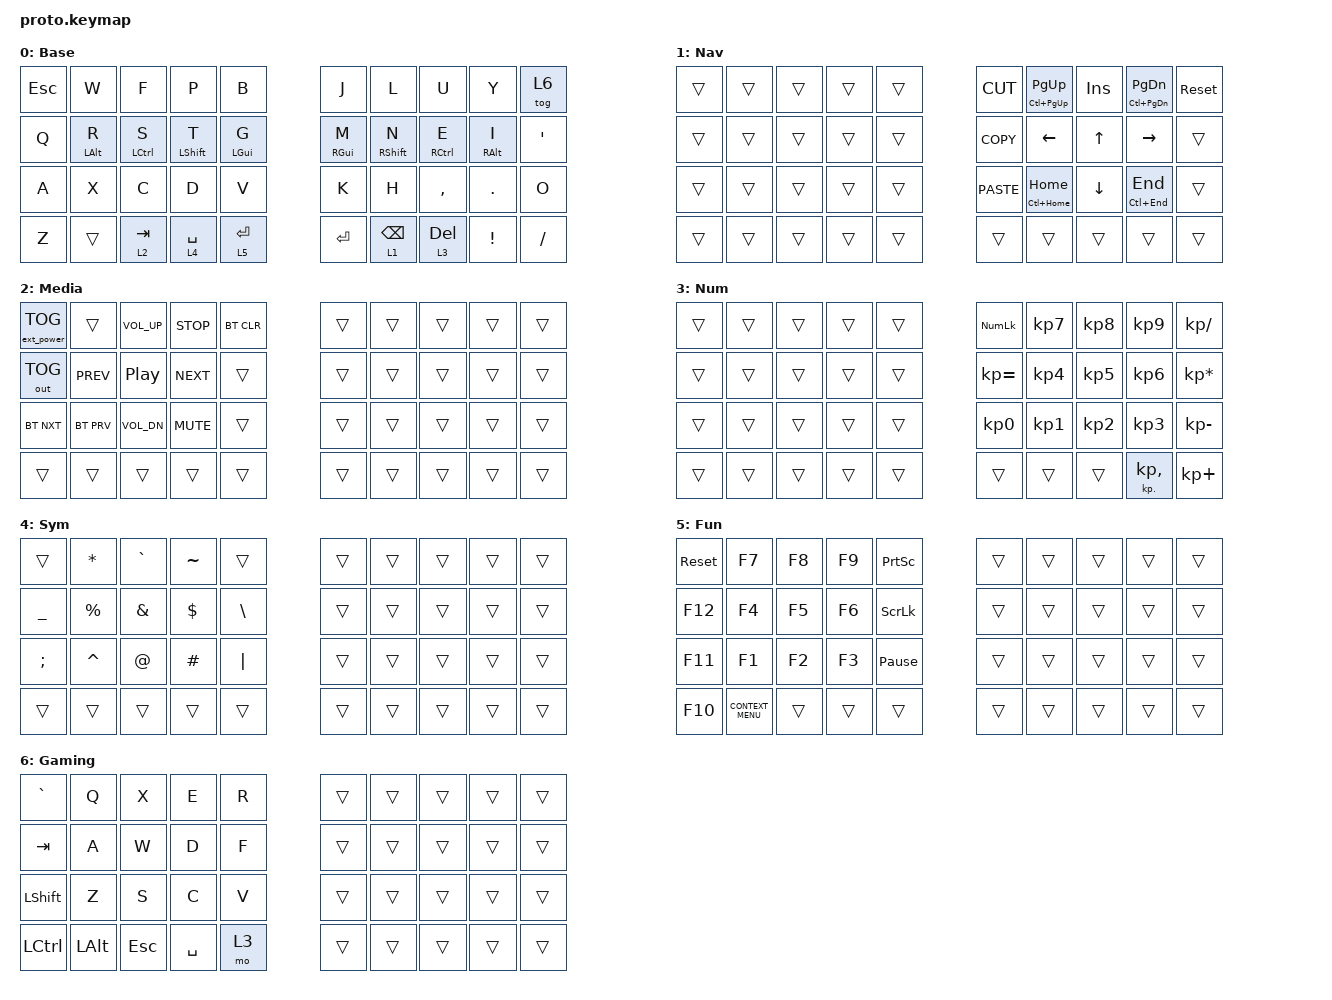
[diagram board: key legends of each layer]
/*
 * Copyright (c) 2020 The ZMK Contributors
 *
 * SPDX-License-Identifier: MIT
 */

#include <behaviors.dtsi>
#include <dt-bindings/zmk/bt.h>
#include <dt-bindings/zmk/ext_power.h>
#include <dt-bindings/zmk/keys.h>
#include <dt-bindings/zmk/outputs.h>

/ {
    combos {
        compatible = "zmk,combos";

        braceL {
            bindings = <&kp LEFT_BRACE>;
            key-positions = <4 14>;
            layers = <0>;
        };

        parenL {
            bindings = <&kp LEFT_PARENTHESIS>;
            key-positions = <3 13>;
            layers = <0>;
        };

        brackL {
            bindings = <&kp LEFT_BRACKET>;
            key-positions = <12 2>;
            layers = <0>;
        };

        braceR {
            bindings = <&kp RIGHT_BRACE>;
            key-positions = <5 15>;
            layers = <0>;
        };

        parenR {
            bindings = <&kp RIGHT_PARENTHESIS>;
            key-positions = <6 16>;
            layers = <0>;
        };

        brackR {
            bindings = <&kp RIGHT_BRACKET>;
            key-positions = <7 17>;
            layers = <0>;
        };

        bootloadL {
            bindings = <&bootloader>;
            key-positions = <0 1>;
            layers = <5>;
        };

        bootloadR {
            bindings = <&bootloader>;
            key-positions = <9 8>;
            layers = <1>;
        };

        pwAdm {
            bindings = <&PWAdm>;
            key-positions = <0 1>;
            layers = <0>;
        };

        pw1 {
            bindings = <&PW1>;
            key-positions = <0 2>;
            layers = <0>;
        };

        pw12 {
            bindings = <&PW12>;
            key-positions = <0 3>;
            layers = <0>;
        };
    };

    macros {
        PW12: PW12 {
            compatible = "zmk,behavior-macro";
            label = "PW12";
            #binding-cells = <0>;
            bindings = <&kp C &kp X &kp J &kp N1 &kp F &kp G &kp J &kp N2 &kp LS(H) &kp LS(C) &kp LS(T) &kp STAR &kp A &kp P &kp H &kp N2 &kp R &kp Z &kp V>;
        };
        PW1: PW1 {
            compatible = "zmk,behavior-macro";
            label = "PW1";
            #binding-cells = <0>;
            bindings = <&kp LS(A) &kp POUND &kp N8 &kp LS(G) &kp LS(C) &kp L &kp LS(J) &kp N9 &kp LS(Q) &kp LS(C) &kp PRCNT &kp N3 &kp D &kp LS(P) &kp AT &kp LS(I) &kp N6 &kp W &kp N9 &kp LS(G) &kp CARET &kp W &kp I &kp X &kp L &kp W &kp O &kp AMPS &kp G &kp LS(W) &kp DLLR &kp J &kp LS(W) &kp N9 &kp LS(U) &kp N9 &kp B &kp J &kp I &kp A>;
        };
        PWAdm: PWAdm {
            compatible = "zmk,behavior-macro";
            label = "PWADM";
            #binding-cells = <0>;
            bindings = <&kp DOT &kp FSLH &kp L &kp O &kp C &kp A &kp L &kp UNDER &kp A &kp D &kp M &kp TAB &kp LS(K) &kp EXCL &kp LS(J) &kp AT &kp E &kp J &kp LS(Y) &kp D &kp J &kp N9 &kp E &kp K>;
        };
    };

    keymap {
        compatible = "zmk,keymap";

        Base {
            // -----------------------------------------------------------------------------------------
            // |  TAB |  Q  |  W  |  E  |  R  |  T  |   |  Y  |  U   |  I  |  O  |  P  | BKSP |
            // | CTRL |  A  |  S  |  D  |  F  |  G  |   |  H  |  J   |  K  |  L  |  ;  |  '   |
            // | SHFT |  Z  |  X  |  C  |  V  |  B  |   |  N  |  M   |  ,  |  .  |  /  | ESC  |
            //                    | GUI | LWR | SPC |   | ENT | RSE  | ALT |

            bindings = <
&kp ESC           &kp W        &kp F             &kp P           &kp B                                    &kp J              &kp L        &kp U            &kp Y     &tog 6
  &kp Q  &mt LEFT_ALT R  &mt LCTRL S  &mt LEFT_SHIFT T  &mt LEFT_GUI G                          &mt RIGHT_GUI M  &mt RIGHT_SHIFT N  &mt RCTRL E  &mt RIGHT_ALT I    &kp SQT
  &kp A           &kp X        &kp C             &kp D           &kp V                                    &kp K              &kp H    &kp COMMA          &kp DOT      &kp O
  &kp Z          &trans                      &lt 2 TAB     &lt 4 SPACE  &lt 5 ENTER  &kp ENTER  &lt 1 BACKSPACE          &lt 3 DEL               &kp EXCLAMATION  &kp SLASH
            >;
        };

        Nav {
            bindings = <
&trans  &trans  &trans  &trans  &trans                    &kp K_CUT  &mt LC(PAGE_UP) PAGE_UP         &kp INS  &mt LC(PAGE_DOWN) PAGE_DOWN  &sys_reset
&trans  &trans  &trans  &trans  &trans                   &kp K_COPY           &kp LEFT_ARROW    &kp UP_ARROW              &kp RIGHT_ARROW      &trans
&trans  &trans  &trans  &trans  &trans                  &kp K_PASTE        &mt LC(HOME) HOME  &kp DOWN_ARROW              &mt LC(END) END      &trans
&trans  &trans          &trans  &trans  &trans  &trans       &trans                   &trans                                       &trans      &trans
            >;

            label = "Nav";
        };

        Media {
            bindings = <
&ext_power EP_TOG      &trans   &kp C_VOLUME_UP  &kp C_STOP  &bt BT_CLR                  &trans  &trans  &trans  &trans  &trans
     &out OUT_TOG  &kp C_PREV  &kp C_PLAY_PAUSE  &kp C_NEXT      &trans                  &trans  &trans  &trans  &trans  &trans
       &bt BT_NXT  &bt BT_PRV      &kp C_VOL_DN  &kp C_MUTE      &trans                  &trans  &trans  &trans  &trans  &trans
           &trans      &trans                        &trans      &trans  &trans  &trans  &trans  &trans          &trans  &trans
            >;

            label = "Media";
        };

        Num {
            bindings = <
&trans  &trans  &trans  &trans  &trans                   &kp KP_NUMLOCK  &kp KP_NUMBER_7  &kp KP_NUMBER_8      &kp KP_NUMBER_9    &kp KP_DIVIDE
&trans  &trans  &trans  &trans  &trans                     &kp KP_EQUAL  &kp KP_NUMBER_4  &kp KP_NUMBER_5      &kp KP_NUMBER_6  &kp KP_MULTIPLY
&trans  &trans  &trans  &trans  &trans                  &kp KP_NUMBER_0  &kp KP_NUMBER_1  &kp KP_NUMBER_2      &kp KP_NUMBER_3  &kp KP_SUBTRACT
&trans  &trans          &trans  &trans  &trans  &trans           &trans           &trans                   &mt KP_DOT KP_COMMA      &kp KP_PLUS
            >;

            label = "Num";
        };

        Sym {
            bindings = <
       &trans  &kp ASTERISK    &kp GRAVE  &kp TILDE         &trans                  &trans  &trans  &trans  &trans  &trans
    &kp UNDER     &kp PRCNT     &kp AMPS   &kp DLLR  &kp BACKSLASH                  &trans  &trans  &trans  &trans  &trans
&kp SEMICOLON     &kp CARET  &kp AT_SIGN   &kp HASH       &kp PIPE                  &trans  &trans  &trans  &trans  &trans
       &trans        &trans                  &trans         &trans  &trans  &trans  &trans  &trans          &trans  &trans
            >;

            label = "Sym";
        };

        Fun {
            bindings = <
&sys_reset              &kp F7  &kp F8  &kp F9  &kp PRINTSCREEN                  &trans  &trans  &trans  &trans  &trans
   &kp F12              &kp F4  &kp F5  &kp F6   &kp SCROLLLOCK                  &trans  &trans  &trans  &trans  &trans
   &kp F11              &kp F1  &kp F2  &kp F3  &kp PAUSE_BREAK                  &trans  &trans  &trans  &trans  &trans
   &kp F10  &kp K_CONTEXT_MENU          &trans           &trans  &trans  &trans  &trans  &trans          &trans  &trans
            >;

            label = "Fun";
        };

        Gaming {
            bindings = <
&kp GRAVE         &kp Q  &kp X    &kp E      &kp R                 &trans  &trans  &trans  &trans  &trans
  &kp TAB         &kp A  &kp W    &kp D      &kp F                 &trans  &trans  &trans  &trans  &trans
&kp LSHFT         &kp Z  &kp S    &kp C      &kp V                 &trans  &trans  &trans  &trans  &trans
&kp LCTRL  &kp LEFT_ALT         &kp ESC  &kp SPACE  &mo 3  &trans  &trans  &trans          &trans  &trans
            >;

            label = "Gaming";
        };
    };
};
